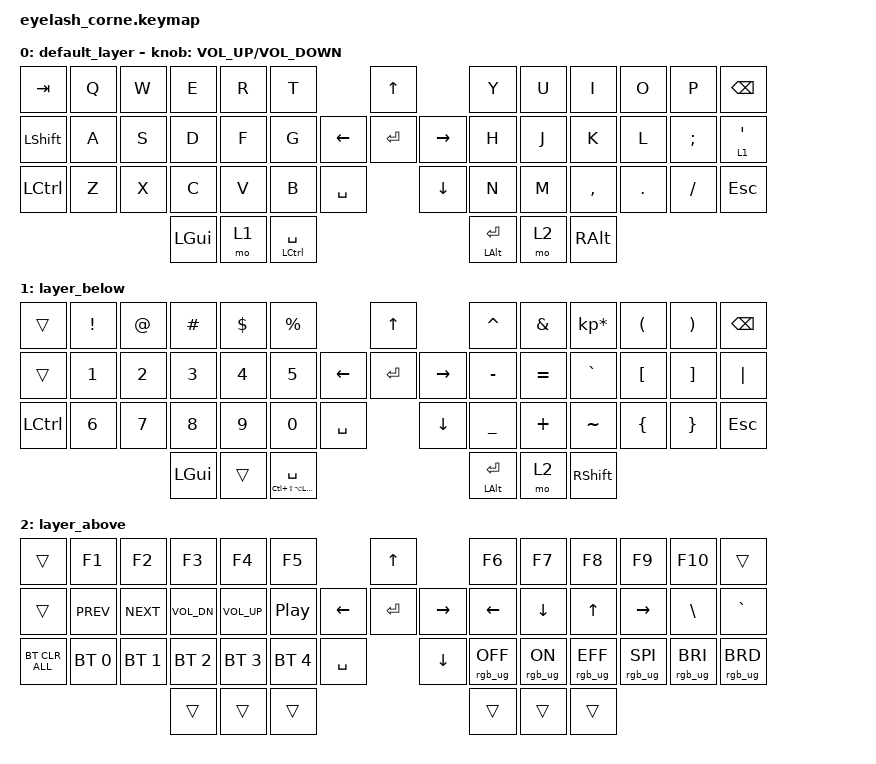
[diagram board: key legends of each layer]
/*
 * Copyright (c) 2020 The ZMK Contributors
 *
 * SPDX-License-Identifier: MIT
 */

#include <dt-bindings/zmk/mouse.h>
#include <behaviors.dtsi>
#include <dt-bindings/zmk/bt.h>
#include <dt-bindings/zmk/keys.h>
#include <dt-bindings/zmk/rgb.h>

/ {
    behaviors {
        tp: tap_preferred {
            compatible = "zmk,behavior-hold-tap";
            label = "TAP_PREFERRED";
            #binding-cells = <2>;
            tapping-term-ms = <150>;
            quick-tap-ms = <0>;
            flavor = "tap-preferred";
            bindings = <&kp>, <&kp>;
        };
    };

    keymap {
        compatible = "zmk,keymap";

        default_layer {
            bindings = <
&kp TAB    &kp Q  &kp W  &kp E     &kp R  &kp T                                   &kp UP                &kp Y         &kp U  &kp I      &kp O    &kp P     &kp BSPC
&kp LSHFT  &kp A  &kp S  &kp D     &kp F  &kp G                         &kp LEFT  &kp ENTER  &kp RIGHT  &kp H         &kp J  &kp K      &kp L    &kp SEMI  &lt 1 SQT
&kp LCTRL  &kp Z  &kp X  &kp C     &kp V  &kp B            &kp SPACE              &kp DOWN              &kp N         &kp M  &kp COMMA  &kp DOT  &kp FSLH  &kp ESC
                         &kp LGUI  &mo 1  &tp LCTRL SPACE                                               &tp LALT RET  &mo 2  &kp RALT
            >;

            sensor-bindings = <&inc_dec_kp C_VOLUME_UP C_VOLUME_DOWN>;
        };

        layer_below {
            bindings = <
&trans     &kp EXCL  &kp AT  &kp HASH  &kp DLLR  &kp PRCNT                                          &kp UP                &kp CARET     &kp AMPS   &kp KP_MULTIPLY  &kp LPAR  &kp RPAR  &kp BSPC
&trans     &kp N1    &kp N2  &kp N3    &kp N4    &kp N5                                   &kp LEFT  &kp ENTER  &kp RIGHT  &kp MINUS     &kp EQUAL  &kp GRAVE        &kp LBKT  &kp RBKT  &kp PIPE
&kp LCTRL  &kp N6    &kp N7  &kp N8    &kp N9    &kp N0                      &kp SPACE              &kp DOWN              &kp UNDER     &kp PLUS   &kp TILDE        &kp LBRC  &kp RBRC  &kp ESC
                             &kp LGUI  &trans    &tp LC(LS(LA(LGUI))) SPACE                                               &tp LALT RET  &mo 2      &kp RSHFT
            >;
        };

        layer_above {
            bindings = <
&trans          &kp F1        &kp F2        &kp F3        &kp F4        &kp F5                               &kp UP                &kp F6           &kp F7          &kp F8           &kp F9           &kp F10          &trans
&trans          &kp C_PREV    &kp C_NEXT    &kp C_VOL_DN  &kp C_VOL_UP  &kp C_PP                   &kp LEFT  &kp ENTER  &kp RIGHT  &kp LEFT         &kp DOWN        &kp UP           &kp RIGHT        &kp BSLH         &kp GRAVE
&bt BT_CLR_ALL  &bt BT_SEL 0  &bt BT_SEL 1  &bt BT_SEL 2  &bt BT_SEL 3  &bt BT_SEL 4  &kp SPACE              &kp DOWN              &rgb_ug RGB_OFF  &rgb_ug RGB_ON  &rgb_ug RGB_EFF  &rgb_ug RGB_SPI  &rgb_ug RGB_BRI  &rgb_ug RGB_BRD
                                            &trans        &trans        &trans                                                     &trans           &trans          &trans
            >;
        };
    };
};
